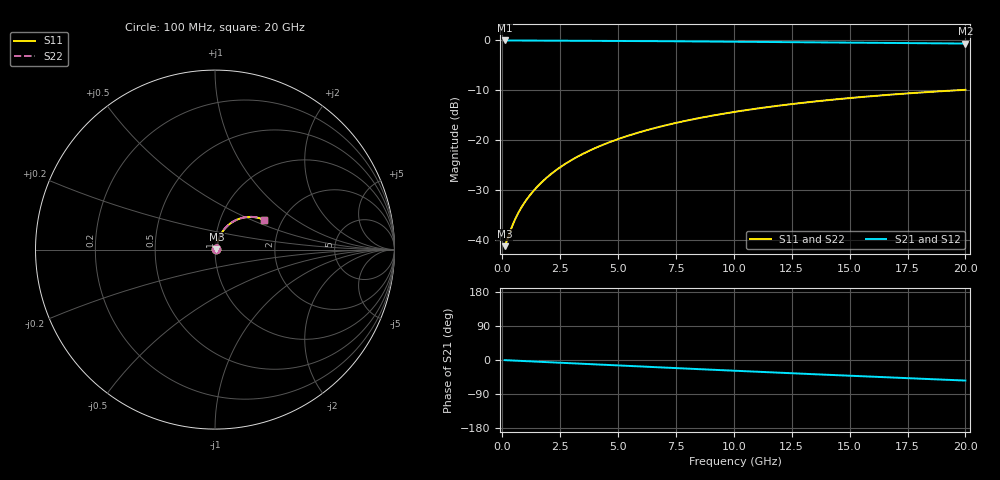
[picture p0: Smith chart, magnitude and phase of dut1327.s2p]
! Touchstone file exported from HFSS 2026.1.0
!  File:  C:/ffzhzh/LocalFiles/Ansys_Project_Files/temp_train_BSMRDL_1327_1783178613_43440.aedt
!  Generated:  11:24:39 PM Jul  4, 2026
!  Design:  BSMRDL
!  Project:  temp_train_BSMRDL_1327_1783178613_43440
! Variables:
!  h_bsmrdl = 2.95um
!  h_ox = 20um
!  h_rdl = 5um
!  h_sub = 80um
!  h_tmrdl = 5um
!  h_tsv = 80um
!  h_via = 3um
!  l_bsmrdl = 930.23um
!  l_sub = 1330.23um
!  l_tmrdl = 200um
!  m_sub = 200um
!  pitch = 22.68um
!  r_tsv = 6um
!  s_tmrdl = 10um
!  w_bsmrdl = 13.45um
!  w_sub = 500um
!  w_tmrdl = 12um
!  x_tsv_center1 = 206um
!  x_tsv_center2 = 1149.68um
!  x_tsv_center3 = 1361.68um
!  x_tsv_center4 = 2305.36um
!  x_tsv_center5 = 2517.36um
!  x_tsv_center6 = 3461.04um
# GHz S MA R 50.000000
! Terminal data exported
! Port[1] = BSM_RDL1_1_T1
! Port[2] = BSM_RDL1_1_T2
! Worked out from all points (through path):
!   200 points, 100 MHz to 20 GHz, reference 50 ohm
!   highest |S21| = -0.07 dB at 100 MHz (marker M1); lowest = -0.7 dB at 20 GHz (marker M2)
!   group delay of S21, straight-line fit = 7.53 ps
!   lowest |S11| = -41.2 dB at 100 MHz (marker M3), VSWR 1.02, Z = 50.8 + j0.253 ohm
!   |S11| at or under -10 dB: start of sweep to 19.78 GHz
!   |S22| runs from -41.2 to -9.9 dB; largest |S21 - S12| = 2.7e-15
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0.1  0.008681 16.7  0.9917 -0.3  0.9917 -0.3  0.008681 16.7
! Gamma 0 0 0 0
! Port Impedance 50 0 50 0
0.2  0.009866 29.9  0.9915 -0.6  0.9915 -0.6  0.009866 29.9
0.4  0.01326 45.5  0.9909 -1.2  0.9909 -1.2  0.01326 45.5
0.5  0.01512 50.1  0.9905 -1.5  0.9905 -1.5  0.01512 50.1
0.7  0.01885 56.1  0.99 -2.1  0.99 -2.1  0.01885 56.2
1  0.02445 61.7  0.9893 -3.0  0.9893 -3.0  0.02445 61.7
1.3  0.03012 65.1  0.9888 -3.8  0.9888 -3.8  0.03012 65.1
1.5  0.03395 66.6  0.9885 -4.4  0.9885 -4.4  0.03394 66.6
1.8  0.03975 68.3  0.988 -5.3  0.988 -5.3  0.03974 68.3
2.3  0.04952 69.8  0.9873 -6.7  0.9873 -6.7  0.04952 69.8
2.9  0.06134 70.3  0.9862 -8.4  0.9862 -8.4  0.06134 70.3
3.5  0.07315 70.1  0.985 -10.1  0.985 -10.1  0.07314 70.1
4.2  0.08683 69.3  0.9834 -12.1  0.9834 -12.1  0.08682 69.3
5  0.1023 68.0  0.9813 -14.4  0.9813 -14.4  0.1022 68.0
5.9  0.1193 66.1  0.9786 -17.0  0.9786 -17.0  0.1193 66.2
6.8  0.1359 64.1  0.9756 -19.5  0.9756 -19.5  0.1359 64.2
8.3  0.1624 60.5  0.9701 -23.6  0.9701 -23.6  0.1624 60.6
10.1  0.1925 56.0  0.963 -28.5  0.963 -28.5  0.1924 56.1
11.7  0.2173 52.0  0.9564 -32.8  0.9564 -32.8  0.2173 52.1
13.4  0.2418 47.7  0.9494 -37.3  0.9494 -37.3  0.2418 47.9
16.7  0.2838 39.6  0.9359 -45.9  0.9359 -45.9  0.2838 39.7
20  0.3183 31.6  0.9237 -54.2  0.9237 -54.2  0.3182 31.8
